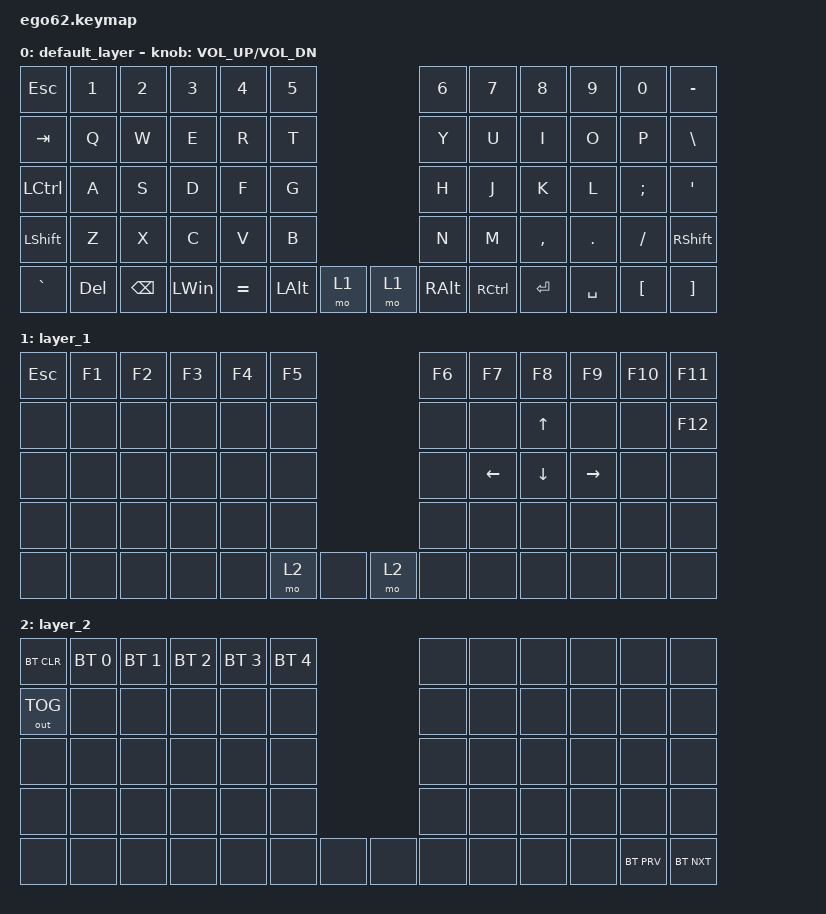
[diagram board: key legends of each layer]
/*
 * Copyright (c) 2020 The ZMK Contributors
 *
 * SPDX-License-Identifier: MIT
 */

#include <behaviors.dtsi>
#include <dt-bindings/zmk/bt.h>
#include <dt-bindings/zmk/keys.h>
#include <dt-bindings/zmk/outputs.h>

/ {
    keymap {
        compatible = "zmk,keymap";

        default_layer {
            bindings = <
&kp ESC           &kp N1   &kp N2         &kp N3        &kp N4     &kp N5                      &kp N6         &kp N7             &kp N8     &kp N9     &kp N0         &kp MINUS
&kp TAB           &kp Q    &kp W          &kp E         &kp R      &kp T                       &kp Y          &kp U              &kp I      &kp O      &kp P          &kp BACKSLASH
&kp LEFT_CONTROL  &kp A    &kp S          &kp D         &kp F      &kp G                       &kp H          &kp J              &kp K      &kp L      &kp SEMICOLON  &kp SQT
&kp LSHFT         &kp Z    &kp X          &kp C         &kp V      &kp B                       &kp N          &kp M              &kp COMMA  &kp DOT    &kp FSLH       &kp RSHIFT
&kp GRAVE         &kp DEL  &kp BACKSPACE  &kp LEFT_WIN  &kp EQUAL  &kp LEFT_ALT  &mo 1  &mo 1  &kp RIGHT_ALT  &kp RIGHT_CONTROL  &kp ENTER  &kp SPACE  &kp LBKT       &kp RBKT
            >;

            sensor-bindings = <&inc_dec_kp C_VOL_UP C_VOL_DN>;
        };

        layer_1 {
            bindings = <
&kp ESC  &kp F1  &kp F2  &kp F3  &kp F4  &kp F5                &kp F6  &kp F7    &kp F8    &kp F9     &kp F10  &kp F11
&none    &none   &none   &none   &none   &none                 &none   &none     &kp UP    &none      &none    &kp F12
&none    &none   &none   &none   &none   &none                 &none   &kp LEFT  &kp DOWN  &kp RIGHT  &none    &none
&none    &none   &none   &none   &none   &none                 &none   &none     &none     &none      &none    &none
&none    &none   &none   &none   &none   &mo 2   &none  &mo 2  &none   &none     &none     &none      &none    &none
            >;
        };

        layer_2 {
            bindings = <
&bt BT_CLR    &bt BT_SEL 0  &bt BT_SEL 1  &bt BT_SEL 2  &bt BT_SEL 3  &bt BT_SEL 4                &none  &none  &none  &none  &none       &none
&out OUT_TOG  &none         &none         &none         &none         &none                       &none  &none  &none  &none  &none       &none
&none         &none         &none         &none         &none         &none                       &none  &none  &none  &none  &none       &none
&none         &none         &none         &none         &none         &none                       &none  &none  &none  &none  &none       &none
&none         &none         &none         &none         &none         &none         &none  &none  &none  &none  &none  &none  &bt BT_PRV  &bt BT_NXT
            >;
        };
    };
};
